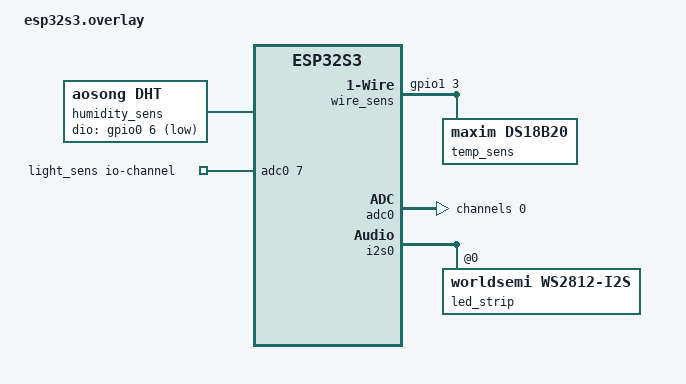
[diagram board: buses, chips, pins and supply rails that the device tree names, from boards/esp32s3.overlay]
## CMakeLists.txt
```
# Copyright (c) 2024 Cesanta Software Limited
# Mail: support@cesanta.com
#
# SPDX-License-Identifier: GPL2.0 or commercial

cmake_minimum_required(VERSION 3.20.0)
set(DTC_OVERLAY_FILE ${CMAKE_CURRENT_SOURCE_DIR}/boards/esp32s3.overlay)
find_package(Zephyr REQUIRED HINTS $ENV{ZEPHYR_BASE})
project(esp_wifi)

file(GLOB mongoose_files ${CMAKE_CURRENT_SOURCE_DIR}/mongoose/*.c ${CMAKE_CURRENT_SOURCE_DIR}/src/*.c)

target_sources(app PRIVATE ${CMAKE_CURRENT_SOURCE_DIR}/src/main.c ${mongoose_files})

target_include_directories(app PRIVATE "${CMAKE_CURRENT_SOURCE_DIR}/inc" "${CMAKE_CURRENT_SOURCE_DIR}/mongoose")
```

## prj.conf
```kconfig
CONFIG_NETWORKING=y
CONFIG_NET_IPV4=y
CONFIG_NET_TCP=y
CONFIG_NET_UDP=y
CONFIG_NET_SOCKETS=y
CONFIG_ZVFS_POLL_MAX=64
CONFIG_POSIX_API=y
CONFIG_ZVFS_OPEN_MAX=64


CONFIG_NET_MAX_CONN=32
CONFIG_NET_MAX_CONTEXTS=32

# Wi-Fi 
CONFIG_WIFI=y
CONFIG_WIFI_ESP32=y
CONFIG_WIFI_USAGE_MODE_AP=y
CONFIG_NET_L2_WIFI_MGMT=y
CONFIG_NET_MGMT=y
CONFIG_NET_MGMT_EVENT=y
CONFIG_NET_MGMT_EVENT_INFO=y

# DHCP
CONFIG_NET_DHCPV4=y
CONFIG_NET_DHCPV4_SERVER=y


CONFIG_LED_STRIP=y
CONFIG_I2S=y

# Sensor Drivers
CONFIG_SENSOR=y
CONFIG_SENSOR_ASYNC_API=y
CONFIG_ADC=y
CONFIG_ADC_ESP32=y
CONFIG_W1=y
CONFIG_DHT=y
CONFIG_GPIO=y
CONFIG_GPIO_ESP32=y
CONFIG_ADC_LOG_LEVEL_ERR=y

CONFIG_LOG=y
CONFIG_NET_LOG=y
CONFIG_ISR_STACK_SIZE=2048
CONFIG_MAIN_STACK_SIZE=8192
CONFIG_IDLE_STACK_SIZE=1024
CONFIG_HEAP_MEM_POOL_SIZE=131072


CONFIG_NET_BUF_TX_COUNT=128
CONFIG_NET_BUF_RX_COUNT=128
CONFIG_NET_PKT_TX_COUNT=128
CONFIG_NET_PKT_RX_COUNT=128


CONFIG_NET_TCP_MAX_SEND_WINDOW_SIZE=8192
CONFIG_NET_TCP_MAX_RECV_WINDOW_SIZE=8192


CONFIG_NET_TX_STACK_SIZE=2048
CONFIG_NET_RX_STACK_SIZE=2048
```

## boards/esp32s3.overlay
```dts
#include <zephyr/dt-bindings/led/led.h>
#include <zephyr/dt-bindings/gpio/gpio.h>

/ {
	aliases {
		led-strip = &led_strip;

	};

	wire_sens: wire-sensor {
		compatible = "zephyr,w1-gpio";
		gpios = <&gpio1 3 (GPIO_ACTIVE_HIGH | GPIO_PULL_UP)>;
		status = "okay";

		temp_sens: temp-sensor {
			compatible = "maxim,ds18b20";
			family-code = <0x28>;
			resolution = <12>;
		};

	};


	humidity_sens: humidity-sensor {
		compatible = "aosong,dht";
		status = "okay";
		dio-gpios = <&gpio0 6 (GPIO_ACTIVE_LOW | GPIO_PULL_UP)>;
		
	};


	light_sens: zephyr,user {
		io-channels = <&adc0 7>;
	};

};

&i2s0_default {
	group1 {
		pinmux = <I2S0_O_SD_GPIO48>;
	};
};


		
&adc0 {
	status = "okay";
	#address-cells = <1>;
	#size-cells = <0>;

	channel@7{
		reg = <0>;
		zephyr,gain = "ADC_GAIN_1_4";
		zephyr,reference = "ADC_REF_INTERNAL";
		zephyr,acquisition-time = <ADC_ACQ_TIME_DEFAULT>;
		zephyr,resolution = <12>;
	};
};




i2s_led: &i2s0 {
	status = "okay";

	dmas = <&dma 3>;
	dma-names = "tx";

	led_strip: ws2812@0 {
		compatible = "worldsemi,ws2812-i2s";

		reg = <0>;
		chain-length = <1>;
		color-mapping = <LED_COLOR_ID_GREEN
				 LED_COLOR_ID_RED
				 LED_COLOR_ID_BLUE>;
		reset-delay = <500>;
	};
};

&dma {
	status = "okay";
};
```

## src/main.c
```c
// SPDX-FileCopyrightText: 2024 Cesanta Software Limited
// SPDX-License-Identifier: GPL-2.0-only or commercial

#include "mongoose_glue.h"
#include <zephyr/kernel.h>
#include <zephyr/logging/log.h>
#include <zephyr/net/net_mgmt.h>
#include <zephyr/net/net_if.h>
#include <zephyr/net/wifi_mgmt.h>
#include <zephyr/net/dhcpv4_server.h>
#include <zephyr/device.h>
#include <zephyr/drivers/led_strip.h>
#include <arpa/inet.h>
#include <string.h>
#include <zephyr/drivers/sensor.h>
#include <zephyr/drivers/adc.h>

LOG_MODULE_REGISTER(main, LOG_LEVEL_DBG);

#define AP_SSID "ESP32_Mongoose_AP"
#define AP_PSK  "12345678"  


/* LED Strip Setup */
static const struct device *strip = DEVICE_DT_GET(DT_ALIAS(led_strip));
#define STRIP_NUM_PIXELS DT_PROP(DT_ALIAS(led_strip), chain_length)
static struct led_rgb pixels[STRIP_NUM_PIXELS];

/* Sensors Setup */
#define TEMP_SENSOR_NODE DT_NODELABEL(temp_sens)
static const struct device *temp_sensor = DEVICE_DT_GET(TEMP_SENSOR_NODE);

#define HUMIDITY_SENSOR_NODE DT_NODELABEL(humidity_sens)
static const struct device *humidity_sensor = DEVICE_DT_GET(HUMIDITY_SENSOR_NODE);

#define LIGHT_SENSOR_NODE DT_NODELABEL(light_sens)
static const struct adc_dt_spec light_sensor = ADC_DT_SPEC_GET(LIGHT_SENSOR_NODE);



/* Message queues for sensors */
typedef struct {
  struct sensor_value temp;
} temp_msg_t;

typedef struct {
  struct sensor_value humidity;
  struct sensor_value temperature;
} humidity_msg_t;

typedef struct {
  uint16_t raw_value;  
  uint32_t mv_value;   
} light_msg_t;


K_MSGQ_DEFINE(temp_msgq, sizeof(temp_msg_t), 10, 4);
K_MSGQ_DEFINE(humidity_msgq, sizeof(humidity_msg_t), 10, 4);
K_MSGQ_DEFINE(light_msgq, sizeof(light_msg_t), 10, 4);


/* Sensor read thread */
void sensor_read_thread(void *arg1, void *arg2, void *arg3) {


  int ret;

  uint16_t adc_buff;

  struct adc_sequence seq = {
    .buffer = &adc_buff,
    .buffer_size = sizeof(adc_buff),
    .resolution = 12,
  };

  ret = adc_sequence_init_dt(&light_sensor, &seq);

  if(!device_is_ready(temp_sensor)) {
    LOG_ERR("Temperature sensor device not ready!");
  }

  if(!device_is_ready(humidity_sensor)) {
    LOG_ERR("Humidity sensor device not ready!");
  }

  if(!device_is_ready(light_sensor.dev)) {
    LOG_ERR("Light sensor device not ready!");
  }

  ret = adc_channel_setup_dt(&light_sensor);
  if (ret < 0) {
    LOG_ERR("Failed to setup light sensor ADC channel (err %d)", ret);
  }
  


  while(1){

    if(sensor_sample_fetch(temp_sensor) == 0){
      struct sensor_value temp_val;
      sensor_channel_get(temp_sensor, SENSOR_CHAN_AMBIENT_TEMP, &temp_val);
      temp_msg_t temp_msg = { .temp = temp_val };
      k_msgq_put(&temp_msgq, &temp_msg, K_NO_WAIT);
    }

    if(sensor_sample_fetch(humidity_sensor) == 0){
      struct sensor_value humidity_val;
      struct sensor_value temp_val; 
      sensor_channel_get(humidity_sensor, SENSOR_CHAN_HUMIDITY, &humidity_val);
      sensor_channel_get(humidity_sensor, SENSOR_CHAN_AMBIENT_TEMP, &temp_val); 
      humidity_msg_t humidity_msg = { .humidity = humidity_val, .temperature = temp_val }; 
      k_msgq_put(&humidity_msgq, &humidity_msg, K_NO_WAIT);
    }


    ret = adc_read_dt(&light_sensor, &seq);
    if (ret == 0) {
      
      int32_t mv_value = adc_buff; 
      adc_raw_to_millivolts_dt(&light_sensor, &mv_value);
      
      light_msg_t light_msg = { .raw_value = adc_buff, .mv_value = (uint32_t)mv_value };
      k_msgq_put(&light_msgq, &light_msg, K_NO_WAIT);
    } else {
      LOG_ERR("Failed to read light sensor ADC (err %d)", ret);
    }

    k_sleep(K_MSEC(300)); 
  }
}



K_THREAD_DEFINE(sensor_thread_id, 2048, sensor_read_thread, NULL, NULL, NULL, 7, 0, 0);







K_SEM_DEFINE(run, 0, 1);


static void zeh(struct net_mgmt_event_callback *cb,
#if ZEPHYR_VERSION_CODE < 0x40200
                uint32_t mgmt_event,
#else
                uint64_t mgmt_event,
#endif
                struct net_if *iface) {
  if (mgmt_event == NET_EVENT_WIFI_AP_ENABLE_RESULT) {
    k_sem_give(&run);
  }
}








int main(void) {

  k_sleep(K_SECONDS(2));

  LOG_INF("Starting ESP32-S3 SoftAP and Mongoose Server...");


  if (!device_is_ready(strip)) {
    LOG_ERR("LED strip device not ready! Check your app.overlay.");
    return -1;
  }
  LOG_INF("RGB LED Strip ready.");


  struct net_mgmt_event_callback ncb;
  struct net_if *iface = net_if_get_default();

  if (!iface) {
    LOG_ERR("No default network interface found!");
    return -1;
  }


  net_if_up(iface);

  
  struct in_addr gw;
  inet_pton(AF_INET, "192.168.4.1", &gw);
  net_if_ipv4_addr_add(iface, &gw, NET_ADDR_MANUAL, 0);

  
  net_mgmt_init_event_callback(&ncb, zeh, NET_EVENT_WIFI_AP_ENABLE_RESULT);
  net_mgmt_add_event_callback(&ncb);

  
  struct wifi_connect_req_params ap_config = {
      .ssid = (const uint8_t *)AP_SSID,
      .ssid_length = strlen(AP_SSID),
      .psk = (const uint8_t *)AP_PSK,
      .psk_length = strlen(AP_PSK),
      .channel = 1,
      .security = strlen(AP_PSK) > 0 ? WIFI_SECURITY_TYPE_PSK : WIFI_SECURITY_TYPE_NONE,
  };

  LOG_INF("Starting Wi-Fi Access Point: %s", AP_SSID);
  int ret = net_mgmt(NET_REQUEST_WIFI_AP_ENABLE, iface, &ap_config, sizeof(ap_config));
  if (ret != 0) {
    LOG_ERR("Failed to enable Wi-Fi AP mode! Error code: %d", ret);
    return -1;
  }

  
  k_sem_take(&run, K_FOREVER);
  LOG_INF("Wi-Fi Access Point active.");


  struct in_addr dhcp_pool_start;
  inet_pton(AF_INET, "192.168.4.10", &dhcp_pool_start);
  if (net_dhcpv4_server_start(iface, &dhcp_pool_start) < 0) {
    LOG_WRN("Failed to start DHCPv4 server");
  } else {
    LOG_INF("DHCPv4 server started (pool starts at 192.168.4.10)");
  }

  LOG_INF("Server running at: http://192.168.4.1");


  struct leds led_data = {0}; 
  struct sensors sensors_data = {0};

  
  // State tracking for the LED
  bool led_was_on = false;
  uint8_t last_r = 0, last_g = 0, last_b = 0;


  mongoose_init();

  mongoose_add_ws_reporter(300, "sensors");  
 

  temp_msg_t temp_msg;
  humidity_msg_t humidity_msg;
  light_msg_t light_msg;
  bool sensors_updated = false;

  






  while (1) {
  
    mongoose_poll();

 
    glue_get_leds(&led_data);
  
    glue_get_sensors(&sensors_data);

    
    if (k_msgq_get(&temp_msgq, &temp_msg, K_NO_WAIT) == 0) {
      sensors_data.Temp = sensor_value_to_double(&temp_msg.temp);  
      sensors_updated = true;
    }

    if (k_msgq_get(&humidity_msgq, &humidity_msg, K_NO_WAIT) == 0) {
      sensors_data.Humidity = sensor_value_to_double(&humidity_msg.humidity);  
      sensors_updated = true;
    }

    if (k_msgq_get(&light_msgq, &light_msg, K_NO_WAIT) == 0) {
      sensors_data.Light_lvl = (light_msg.raw_value / 3300.0) * 100;  
      sensors_updated = true;
    }
    

    

    if (led_data.led1_on) {
      if (!led_was_on || last_r != led_data.red_lvl || last_g != led_data.green_lvl || last_b != led_data.blue_lvl) {
        
        memset(&pixels, 0, sizeof(pixels)); 
        

        pixels[0].r = (uint8_t)led_data.red_lvl;
        pixels[0].g = (uint8_t)led_data.green_lvl;
        pixels[0].b = (uint8_t)led_data.blue_lvl;
        
        led_strip_update_rgb(strip, pixels, STRIP_NUM_PIXELS);
        

        led_was_on = true;
        last_r = led_data.red_lvl;
        last_g = led_data.green_lvl;
        last_b = led_data.blue_lvl;

      }
    } else if (led_was_on) {
      memset(&pixels, 0, sizeof(pixels));
      led_strip_update_rgb(strip, pixels, STRIP_NUM_PIXELS);
      led_was_on = false;
    }




    glue_set_leds(&led_data);
    
    if (sensors_updated) {
      glue_set_sensors(&sensors_data);
      glue_update_state();  
      sensors_updated = false;
    }

    
  
  }

  return 0;
}
```
